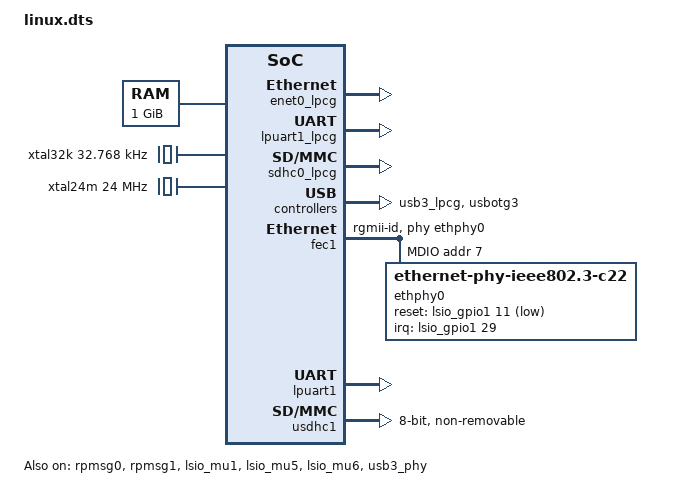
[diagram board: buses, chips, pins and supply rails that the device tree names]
/dts-v1/;

/ {
    #size-cells = <0x2>;
    #address-cells = <0x2>;

    cpus {
        #size-cells = <0x0>;
        #address-cells = <0x1>;

        cpu@0 {
            compatible = "arm,armv8";
            device_type = "cpu";
            enable-method = "psci";
            reg = <0x0>;
        };

        cpu@1 {
            compatible = "arm,armv8";
            device_type = "cpu";
            enable-method = "psci";
            reg = <0x1>;
        };
    };

    psci {
        compatible = "arm,psci-0.2";
        method = "smc";
    };

    memory@80200000 {
        reg = <0x0 0x80200000 0x0 0x40000000>;
        device_type = "memory";
    };

    reserved-memory {
        #address-cells = <2>;
        #size-cells = <2>;
        ranges;

        /* * 64MB VPU Shield spanning 0x84000000 to 0x87FFFFFF
         * Prevents ADMA errors and A53 SError Panics when systemd reads eMMC
         */
        vpu_shield: vpu-shield@84000000 {
            reg = <0 0x84000000 0 0x4000000>;
            no-map;
        };

        /*
         * reserved-memory layout
         * 0x8800_0000 ~ 0x8FFF_FFFF is reserved for M4
         * Shouldn't be used at A core and Linux side.
         */
        m4_reserved: m4@88000000 {
            reg = <0 0x88000000 0 0x8000000>;
            no-map;
        };

        /* --- THE M4 FIREWALL PLUGS --- */
        vdev0vring0: vdev0vring0@90000000 {
            reg = <0 0x90000000 0 0x8000>;
            no-map;
        };

        vdev0vring1: vdev0vring1@90008000 {
            reg = <0 0x90008000 0 0x8000>;
            no-map;
        };

        vdev1vring0: vdev1vring0@90010000 {
            reg = <0 0x90010000 0 0x8000>;
            no-map;
        };

        vdev1vring1: vdev1vring1@90018000 {
            reg = <0 0x90018000 0 0x8000>;
            no-map;
        };

        rsc_table0: rsc-table@900ff000 {
            reg = <0 0x900ff000 0 0x1000>;
            no-map;
        };

        vdev2vring0: vdev2vring0@90100000 {
            reg = <0 0x90100000 0 0x8000>;
            no-map;
        };

        vdev2vring1: vdev2vring1@90108000 {
            reg = <0 0x90108000 0 0x8000>;
            no-map;
        };

        vdev3vring0: vdev3vring0@90110000 {
            reg = <0 0x90110000 0 0x8000>;
            no-map;
        };

        vdev3vring1: vdev3vring1@90118000 {
            reg = <0 0x90118000 0 0x8000>;
            no-map;
        };

        rsc_table1: rsc-table@901ff000 {
            reg = <0 0x901ff000 0 0x1000>;
            no-map;
        };

        rpmsg_reserved: rpmsg@90200000 {
            reg = <0 0x90200000 0 0x200000>;
            no-map;
        };

        vdevbuffer: vdevbuffer@90400000 {
            compatible = "shared-dma-pool";
            reg = <0 0x90400000 0 0x100000>;
            no-map;
        };

        decoder_rpc: decoder-rpc@92000000 {
            reg = <0 0x92000000 0 0x200000>;
            no-map;
        };

        dsp_reserved: dsp@92400000 {
            reg = <0 0x92400000 0 0x2000000>;
            no-map;
        };

        encoder1_rpc: encoder1-rpc@94400000 {
            reg = <0 0x94400000 0 0x700000>;
            no-map;
        };

        encoder2_rpc: encoder2-rpc@94b00000 {
            reg = <0 0x94b00000 0 0x700000>;
            no-map;
        };

        /* global autoconfigured region for contiguous allocations */
        linux,cma {
            compatible = "shared-dma-pool";
            alloc-ranges = <0 0x80200000 0 0x40000000>;
            linux,cma-default;
            reusable;
            size = <0 0x10000000>;
        };
    };

    rpmsg0: rpmsg@90000000 {
        compatible = "fsl,imx8qm-rpmsg";
        mbox-names = "tx", "rx", "rxdb";
        mboxes = <&lsio_mu5 0 1
                  &lsio_mu5 1 1
                  &lsio_mu5 3 1>;
        mub-partition = <3>;
        vdev-nums = <2>;
        reg = <0 0x90000000 0 0x20000>;
        memory-region = <&vdevbuffer>;
        status = "okay";
    };

    rpmsg1: rpmsg@90100000 {
        compatible = "fsl,imx8qm-rpmsg";
        mbox-names = "tx", "rx", "rxdb";
        mboxes = <&lsio_mu6 0 1
                  &lsio_mu6 1 1
                  &lsio_mu6 3 1>;
        mub-partition = <4>;
        vdev-nums = <2>;
        reg = <0 0x90100000 0 0x20000>;
        memory-region = <&vdevbuffer>;
        status = "okay";
    };

    gic: intc@8000000 {
        interrupts = <0x01 0x09 0x04>;
        reg = <0x00 0x51a00000 0x00 0x10000 0x00 0x51b00000 0x00 0xf60000>;
        #redistributor-regions = <0x01>;
        compatible = "arm,gic-v3";
        interrupt-controller;
        #interrupt-cells = <0x03>;
        interrupt-parent = <&gic>;
    };

    timer {
        compatible = "arm,armv8-timer";
        interrupt-parent = <&gic>;
        interrupts = <0x1 0xd 0xf08 0x1 0xe 0xf08 0x1 0xb 0xf08 0x1 0xa 0xf08>;
    };

    conn_axi_clk: clock-conn-axi {
        compatible = "fixed-clock";
        #clock-cells = <0>;
        clock-frequency = <333333333>;
        clock-output-names = "conn_axi_clk";
    };

    conn_ahb_clk: clock-conn-ahb {
        compatible = "fixed-clock";
        #clock-cells = <0>;
        clock-frequency = <166666666>;
        clock-output-names = "conn_ahb_clk";
    };

    conn_ipg_clk: clock-conn-ipg {
        compatible = "fixed-clock";
        #clock-cells = <0>;
        clock-frequency = <83333333>;
        clock-output-names = "conn_ipg_clk";
    };

    dma_ipg_clk: clock-dma-ipg {
        compatible = "fixed-clock";
        #clock-cells = <0>;
        clock-frequency = <120000000>;
        clock-output-names = "dma_ipg_clk";
    };

    xtal32k: clock-xtal32k {
        compatible = "fixed-clock";
        #clock-cells = <0>;
        clock-frequency = <32768>;
        clock-output-names = "xtal_32KHz";
    };

    xtal24m: clock-xtal24m {
        compatible = "fixed-clock";
        #clock-cells = <0>;
        clock-frequency = <24000000>;
        clock-output-names = "xtal_24MHz";
    };

    lsio_mu1: mailbox@5d1c0000 {
        compatible = "fsl,imx8qm-mu", "fsl,imx6sx-mu";
        reg = <0x0 0x5d1c0000 0x0 0x10000>;
        interrupt-parent = <&gic>;
        interrupts = <0 177 4>;
        #mbox-cells = <2>;
        status = "okay";
    };

    lsio_mu5: mailbox@5d200000 {
        compatible = "fsl,imx8qm-mu", "fsl,imx6sx-mu";
        reg = <0x0 0x5d200000 0x0 0x10000>;
        interrupt-parent = <&gic>;
        interrupts = <0 184 4>;
        #mbox-cells = <2>;
        power-domains = <&pd 218>;
        status = "okay";
    };

    lsio_mu6: mailbox@5d210000 {
        compatible = "fsl,imx8qm-mu", "fsl,imx6sx-mu";
        reg = <0x0 0x5d210000 0x0 0x10000>;
        interrupt-parent = <&gic>;
        interrupts = <0 185 4>;
        #mbox-cells = <2>;
        power-domains = <&pd 219>;
        status = "okay";
    };

    lsio_gpio1: gpio@5d090000 {
        compatible = "fsl,imx8qm-gpio", "fsl,imx35-gpio";
        reg = <0x0 0x5d090000 0x0 0x10000>;
        interrupt-parent = <&gic>;
        interrupts = <0 137 4>;
        gpio-controller;
        #gpio-cells = <2>;
        interrupt-controller;
        #interrupt-cells = <2>;
        power-domains = <&pd 200>;

        gpio-line-names = "",
                "",
                "",
                "",
                "MXM3_286",
                "",
                "MXM3_87",
                "MXM3_99",
                "MXM3_138",
                "MXM3_140",
                "MXM3_239",
                "",
                "MXM3_281",
                "MXM3_283",
                "MXM3_126",
                "MXM3_132",
                "",
                "",
                "",
                "",
                "MXM3_173",
                "MXM3_175",
                "MXM3_123";
    };

    scu {
        compatible = "fsl,imx-scu";

        mbox-names = "tx0", "tx1", "tx2", "tx3",
                     "rx0", "rx1", "rx2", "rx3",
                     "gip3";

        mboxes = <&lsio_mu1 0 0
                  &lsio_mu1 0 1
                  &lsio_mu1 0 2
                  &lsio_mu1 0 3
                  &lsio_mu1 1 0
                  &lsio_mu1 1 1
                  &lsio_mu1 1 2
                  &lsio_mu1 1 3
                  &lsio_mu1 3 3>;

        pd: imx8qx-pd {
            compatible = "fsl,imx8qm-scu-pd", "fsl,scu-pd";
            #power-domain-cells = <1>;
        };

        clk: clock-controller {
            compatible = "fsl,imx8qm-clk", "fsl,scu-clk";
            #clock-cells = <2>;
            clocks = <&xtal32k &xtal24m>;
            clock-names = "xtal_32KHz", "xtal_24Mhz";
        };

        iomuxc: pinctrl {
            compatible = "fsl,imx8qm-iomuxc";
            pinctrl-names = "default";
            pinctrl_fec1: fec1grp {
                fsl,pins = <0xff 0x00 0x14a0>,
                           <0xa6 0x00 0x6000020>,
                           <0xa5 0x00 0x6000020>,
                           <0xf4 0x00 0x6000020>,
                           <0xf3 0x00 0x6000020>,
                           <0xf5 0x00 0x6000020>,
                           <0xf6 0x00 0x6000020>,
                           <0xf7 0x00 0x6000020>,
                           <0xf8 0x00 0x6000020>,
                           <0xf9 0x00 0x6000020>,
                           <0xfa 0x00 0x6000020>,
                           <0xfb 0x00 0x6000020>,
                           <0xfc 0x00 0x6000020>,
                           <0xfd 0x00 0x6000020>,
                           <0xfe 0x00 0x6000020>,
                           <0xa7 0x00 0x6000020>,
                           /* On-module ETH_RESET# */
                           <0x39 0x03 0x6000020>,
                           /* On-module ETH_INT# */
                           <0x4d 0x03 0x4000060>;
            };

            pinctrl_fec1_sleep: fec1-sleepgrp {
                fsl,pins = <0xff 0x00 0x000014a0>,
                           <0xa6 0x03 0x04000040>,
                           <0xa5 0x03 0x04000040>,
                           <0xf4 0x03 0x04000040>,
                           <0xf3 0x03 0x04000040>,
                           <0xf5 0x03 0x04000040>,
                           <0xf6 0x03 0x04000040>,
                           <0xf7 0x03 0x04000040>,
                           <0xf8 0x03 0x04000040>,
                           <0xf9 0x03 0x04000040>,
                           <0xfa 0x03 0x04000040>,
                           <0xfb 0x03 0x04000040>,
                           <0xfc 0x03 0x04000040>,
                           <0xfd 0x03 0x04000040>,
                           <0xfe 0x03 0x04000040>,
                           <0xa7 0x03 0x04000040>,
                           <0x39 0x03 0x06000020>,
                           <0x4d 0x03 0x04000040>;
            };

            /* On-module eMMC */
            pinctrl_usdhc1: usdhc1grp {
                fsl,pins = <0xd1 0x00 0x06000041>,
                           <0xd2 0x00 0x00000021>,
                           <0xd3 0x00 0x00000021>,
                           <0xd4 0x00 0x00000021>,
                           <0xd5 0x00 0x00000021>,
                           <0xd6 0x00 0x00000021>,
                           <0xd7 0x00 0x00000021>,
                           <0xd8 0x00 0x00000021>,
                           <0xd9 0x00 0x00000021>,
                           <0xda 0x00 0x00000021>,
                           <0xdb 0x00 0x06000041>,
                           <0xdc 0x00 0x00000021>;
            };

            pinctrl_usdhc1_100mhz: usdhc1-100mhzgrp {
                fsl,pins = <0xd1 0x00 0x06000040>,
                           <0xd2 0x00 0x00000020>,
                           <0xd3 0x00 0x00000020>,
                           <0xd4 0x00 0x00000020>,
                           <0xd5 0x00 0x00000020>,
                           <0xd6 0x00 0x00000020>,
                           <0xd7 0x00 0x00000020>,
                           <0xd8 0x00 0x00000020>,
                           <0xd9 0x00 0x00000020>,
                           <0xda 0x00 0x00000020>,
                           <0xdb 0x00 0x06000040>,
                           <0xdc 0x00 0x00000020>;
            };

            pinctrl_usdhc1_200mhz: usdhc1-200mhzgrp {
                fsl,pins = <0xd1 0x00 0x06000040>,
                           <0xd2 0x00 0x00000020>,
                           <0xd3 0x00 0x00000020>,
                           <0xd4 0x00 0x00000020>,
                           <0xd5 0x00 0x00000020>,
                           <0xd6 0x00 0x00000020>,
                           <0xd7 0x00 0x00000020>,
                           <0xd8 0x00 0x00000020>,
                           <0xd9 0x00 0x00000020>,
                           <0xda 0x00 0x00000020>,
                           <0xdb 0x00 0x06000040>,
                           <0xdc 0x00 0x00000020>;
            };
        };

        ocotp: imx8qm-ocotp {
            compatible = "fsl,imx8qm-scu-ocotp";
            #address-cells = <1>;
            #size-cells = <1>;
            read-only;

            fec_mac0: mac@1c4 {
                reg = <0x1c4 6>;
            };

            fec_mac1: mac@1c6 {
                reg = <0x1c6 6>;
            };
        };
    };

    enet0_lpcg: clock-controller@5b230000 {
        compatible = "fsl,imx8qxp-lpcg";
        reg = <0x0 0x5b230000 0x0 0x10000>;
        #clock-cells = <1>;
        clocks = <&clk 251 2>,
                 <&clk 251 2>,
                 <&conn_axi_clk>,
                 <&clk 251 24>,
                 <&conn_ipg_clk>,
                 <&conn_ipg_clk>;
        bit-offset = <0 4 8 12 16 20>;
        clock-output-names = "enet0_lpcg_timer_clk",
                             "enet0_lpcg_txc_sampling_clk",
                             "enet0_lpcg_ahb_clk",
                             "enet0_lpcg_rgmii_txc_clk",
                             "enet0_lpcg_ipg_clk",
                             "enet0_lpcg_ipg_s_clk";
        power-domains = <&pd 251>;
    };

    lpuart1_lpcg: clock-controller@5a470000 {
        compatible = "fsl,imx8qxp-lpcg";
        reg = <0x0 0x5a470000 0x0 0x10000>;
        #clock-cells = <1>;
        clocks = <&clk 58 2>, <&dma_ipg_clk>;
        bit-offset = <0 16>;
        clock-output-names = "lpuart1_lpcg_ipg_clk", "lpuart1_lpcg_baud_clk";
        power-domains = <&pd 58>;
    };

    sdhc0_lpcg: clock-controller@5b200000 {
        compatible = "fsl,imx8qxp-lpcg";
        reg = <0x0 0x5b200000 0x0 0x10000>;
        #clock-cells = <1>;
        clocks = <&clk 248 2>, <&conn_ipg_clk>, <&conn_axi_clk>;
        bit-offset = <0 16 20>;
        clock-output-names = "sdhc0_lpcg_per_clk",
                             "sdhc0_lpcg_ipg_clk",
                             "sdhc0_lpcg_ahb_clk";
        power-domains = <&pd 248>;
    };

    usb3_lpcg: clock-controller@5b280000 {
		compatible = "fsl,imx8qxp-lpcg";
		reg = <0x0 0x5b280000 0x0 0x10000>;
		#clock-cells = <1>;
		bit-offset = <0 4 16 20 24 28>;
		clocks = <&clk 262 2>,
			 <&clk 262 4>,
			 <&conn_ipg_clk>,
			 <&conn_ipg_clk>,
			 <&conn_ipg_clk>,
			 <&clk 262 1>;
		clock-output-names = "usb3_app_clk",
				     "usb3_lpm_clk",
				     "usb3_ipg_clk",
				     "usb3_core_pclk",
				     "usb3_phy_clk",
				     "usb3_aclk";
		power-domains = <&pd 263>;
	};

    fec1: ethernet@5b040000 {
        compatible = "fsl,imx8qm-fec", "fsl,imx6sx-fec";
        reg = <0x0 0x5b040000 0x0 0x10000>;
        interrupt-parent = <&gic>;
        interrupts = <0 258 4>,
                     <0 256 4>,
                     <0 257 4>,
                     <0 259 4>;
        clocks = <&enet0_lpcg 4>,
                 <&enet0_lpcg 2>,
                 <&enet0_lpcg 3>,
                 <&enet0_lpcg 0>,
                 <&enet0_lpcg 1>;
        clock-names = "ipg", "ahb", "enet_clk_ref", "ptp", "enet_2x_txclk";
        status = "okay";

        assigned-clocks = <&clk 251 2>,
                          <&clk 251 25>;
        assigned-clock-rates = <250000000>, <125000000>;
        fsl,num-tx-queues=<3>;
        fsl,num-rx-queues=<3>;
        power-domains = <&pd 251>;

        pinctrl-names = "default";
        pinctrl-0 = <&pinctrl_fec1>;
        pinctrl-1 = <&pinctrl_fec1_sleep>;
        phy-mode = "rgmii-id";
        phy-handle = <&ethphy0>;
        fsl,magic-packet;
        fsl,mii-exclusive;
        mdio {
            #address-cells = <1>;
            #size-cells = <0>;

            ethphy0: ethernet-phy@0 {
                compatible = "ethernet-phy-ieee802.3-c22";
                reg = <7>;
                interrupt-parent = <&lsio_gpio1>;
                interrupts = <29 8>;
                micrel,led-mode = <0>;
                reset-assert-us = <2>;
                reset-deassert-us = <2>;
                reset-gpios = <&lsio_gpio1 11 1>;
                reset-names = "phy-reset";
            };
        };
    };

    lpuart1: serial@5a070000 {
        compatible = "fsl,imx8qm-lpuart", "fsl,imx8qxp-lpuart",
                    "fsl,imx7ulp-lpuart";
        reg = <0x0 0x5a070000 0x0 0x1000>;
        interrupts = <0 346 4>;
        interrupt-parent = <&gic>;
        clocks = <&lpuart1_lpcg 1>, <&lpuart1_lpcg 0>;
        clock-names = "ipg", "baud";
        assigned-clocks = <&clk 58 2>;
        assigned-clock-rates = <80000000>;
        power-domains = <&pd 58>;
        status = "okay";
    };

    usdhc1: mmc@5b010000 {
        compatible = "fsl,imx8qm-usdhc", "fsl,imx8qxp-usdhc";
        reg = <0x0 0x5b010000 0x0 0x10000>;
        interrupts = <0 232 4>;
        interrupt-parent = <&gic>;
        clocks = <&sdhc0_lpcg 1>, <&sdhc0_lpcg 2>, <&sdhc0_lpcg 0>;
        clock-names = "ipg", "ahb", "per";
        assigned-clocks = <&clk 248 2>;
        assigned-clock-rates = <400000000>;
        power-domains = <&pd 248>;
        fsl,tuning-start-tap = <20>;
        fsl,tuning-step = <2>;

        pinctrl-names = "default", "state_100mhz", "state_200mhz";
        pinctrl-0 = <&pinctrl_usdhc1>;
        pinctrl-1 = <&pinctrl_usdhc1_100mhz>;
        pinctrl-2 = <&pinctrl_usdhc1_200mhz>;

        broken-adma2;
        no-sdma;

        bus-width = <8>;
        non-removable;
        status = "okay";
    };

    usbotg3: usb@5b110000 {
		compatible = "fsl,imx8qm-usb3";
		reg = <0x0 0x5b110000 0x0 0x10000>;
		#address-cells = <1>;
		#size-cells = <1>;
		ranges;
		clocks = <&usb3_lpcg 1>,
			 <&usb3_lpcg 0>,
			 <&usb3_lpcg 5>,
			 <&usb3_lpcg 2>,
			 <&usb3_lpcg 3>;
        clock-names = "usb3_lpm_clk", "usb3_bus_clk", "usb3_aclk",
                    "usb3_ipg_clk", "usb3_core_pclk";
        assigned-clocks = <&clk 262 1>;
        assigned-clock-rates = <250000000>;
		power-domains = <&pd 262>;
		status = "okay";

		usbotg3_cdns3: usb@5b120000 {
			compatible = "cdns,usb3";
			reg = <0x5b120000 0x10000>, /* memory area for OTG/DRD registers */
			      <0x5b130000 0x10000>, /* memory area for HOST registers */
			      <0x5b140000 0x10000>; /* memory area for DEVICE registers */
			reg-names = "otg", "xhci", "dev";
			interrupt-parent = <&gic>;
			interrupts = <0 271 4>,
				     <0 271 4>,
				     <0 271 4>,
				     <0 271 4>;
			interrupt-names = "host", "peripheral", "otg", "wakeup";
			phys = <&usb3_phy>;
			phy-names = "cdns3,usb3-phy";
			cdns,on-chip-buff-size = /bits/ 16 <18>;
			status = "okay";
		};
	};

	usb3_phy: usb-phy@5b160000 {
		compatible = "nxp,salvo-phy";
		reg = <0x0 0x5b160000 0x0 0x40000>;
		clocks = <&usb3_lpcg 4>;
		clock-names = "salvo_phy_clk";
		power-domains = <&pd 263>;
		#phy-cells = <0>;
		status = "okay";
	};

    bao-ipc@f0000000 {
        compatible = "bao,ipcshmem";
        reg = <0x0 0xf0000000 0x0 0x00010000>;
        read-channel = <0x0 0x2000>;
        write-channel = <0x2000 0x2000>;
        interrupts = <0 52 1>;
        interrupt-parent = <&gic>;
        id = <0>;
    };

    aliases {
        ethernet0 = &fec1;
        mmc0 = &usdhc1;
        serial1 = &lpuart1;
        mu1 = &lsio_mu1;
    };

    chosen {
        bootargs = "clk_ignore_unused"
            "ip=10.252.62.55::10.252.62.1:255.255.255.0::eth0:off "
            "carrier_timeout=0 console=ttyLP1,115200 earlycon "
            "fw_devlink=permissive root=/dev/mmcblk0p2 rootwait rw "
            "random.trust_cpu=1";

        stdout-path = &lpuart1;
    };
};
